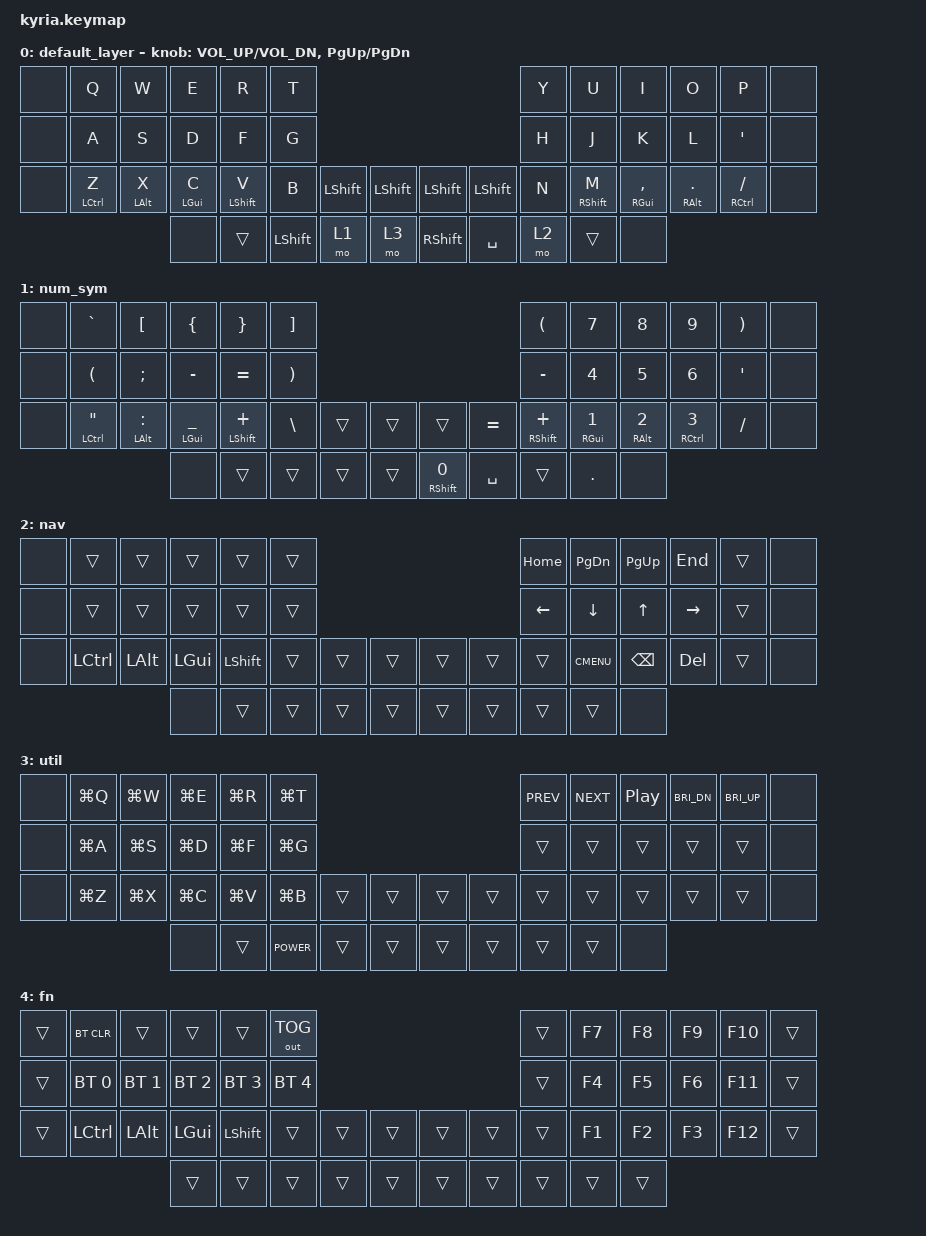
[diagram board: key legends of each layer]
/*
 * Copyright (c) 2020 The ZMK Contributors
 *
 * SPDX-License-Identifier: MIT
 */

#include <behaviors.dtsi>
#include <dt-bindings/zmk/keys.h>
#include <dt-bindings/zmk/bt.h>

/ {
    chosen {
        zmk,matrix_transform = &five_column_transform;
    };

    behaviors {
        hrml: homerowmods_left {
            compatible = "zmk,behavior-hold-tap";
            label = "HOMEROW_MODS_LEFT";
            #binding-cells = <2>;
            tapping-term-ms = <200>;
            quick-tap-ms = <125>;
            global-quick-tap;
            flavor = "tap-preferred";
            bindings = <&kp>, <&kp>;
            // hold-trigger-key-positions = <1 2  4  6 7 8 9 10 11  13 14 15 16 19 20 21 22 23 24  26 27 28 29  31 32 33 34 35 36 40 41 42>;
            // hold-trigger-key-positions = <6 7 8 9 10 11 19 20 21 22 23 24 31 32 33 34 35 36 40 41 42>;
        };
        hrmr: homerowmods_right {
            compatible = "zmk,behavior-hold-tap";
            label = "HOMEROW_MODS_RIGHT";
            #binding-cells = <2>;
            tapping-term-ms = <200>;
            quick-tap-ms = <125>;
            global-quick-tap;
            flavor = "tap-preferred";
            bindings = <&kp>, <&kp>;
            // hold-trigger-key-positions = <0 1 2 3 4 5 12 13 14 15 16 17 25 26 27 28 29 30  32 33 34 35  37 38 39>;
            // hold-trigger-key-positions = <0 1 2 3 4 5 12 13 14 15 16 17 25 26 27 28 29 30 37 38 39>;
        };
    };

    combos {
        compatible = "zmk,combos";

        enter_kl {
            bindings = <&kp ENTER>;
            key-positions = <20 21>;
        };

        backspace_jl {
            bindings = <&kp BACKSPACE>;
            key-positions = <19 21>;
        };

        backspace_jk {
            bindings = <&kp BACKSPACE>;
            key-positions = <19 20>;
        };

        tab_df {
            bindings = <&kp TAB>;
            key-positions = <15 16>;
        };

        escape_uio {
            bindings = <&kp ESCAPE>;
            key-positions = <7 8 9>;
        };

        enter_sd {
            bindings = <&kp ENTER>;
            key-positions = <14 15>;
        };

        space_fg {
            bindings = <&kp SPACE>;
            key-positions = <16 17>;
        };

        escape_wer {
            bindings = <&kp ESCAPE>;
            key-positions = <2 3 4>;
        };

        backspace_sf {
            bindings = <&kp BACKSPACE>;
            key-positions = <14 16>;
        };

        delete_xf {
            bindings = <&kp DELETE>;
            key-positions = <26 16>;
        };
    };

    conditional_layers {
        compatible = "zmk,conditional-layers";
        tri_layer {
            if-layers = <1 3>;
            then-layer = <4>;
        };
    };

    keymap {
        compatible = "zmk,keymap";

        default_layer {
            bindings = <
  &none   &kp Q   &kp W   &kp E   &kp R       &kp T                                                &kp Y   &kp U      &kp I    &kp O             &kp P   &none
  &none   &kp A   &kp S   &kp D   &kp F       &kp G                                                &kp H   &kp J      &kp K    &kp L  &kp SINGLE_QUOTE   &none
  &none   &hrml LCTRL Z   &hrml LALT X   &hrml LGUI C   &hrml LSHFT V       &kp B  &kp LSHFT  &kp LSHFT   &kp LSHFT  &kp LSHFT   &kp N   &hrmr RSHFT M  &hrmr RGUI COMMA  &hrmr RALT DOT          &hrmr RCTRL FSLH   &none
                          &none  &trans  &kp LSHIFT      &mo 1      &mo 3  &kp RSHIFT  &kp SPACE   &mo 2  &trans      &none
            >;

            sensor-bindings = <&inc_dec_kp C_VOL_UP C_VOL_DN &inc_dec_kp PG_UP PG_DN>;
        };

        num_sym {
            bindings = <
  &none  &kp GRAVE       &kp LBKT   &kp LBRC   &kp RBRC  &kp RBKT                                            &kp LPAR   &kp N7  &kp N8  &kp N9  &kp RPAR   &none
  &none   &kp LPAR  &kp SEMICOLON  &kp MINUS  &kp EQUAL  &kp RPAR                                           &kp MINUS   &kp N4  &kp N5  &kp N6   &kp SQT   &none
  &none    &hrml LCTRL DQT      &hrml LALT COLON  &hrml LGUI UNDER   &hrml LSHFT PLUS  &kp BSLH  &trans  &trans        &trans  &kp EQUAL   &hrmr RSHFT PLUS   &hrmr RGUI N1  &hrmr RALT N2  &hrmr RCTRL N3  &kp FSLH   &none
                                       &none     &trans    &trans  &trans  &trans  &mt RSHFT N0  &kp SPACE     &trans  &kp DOT   &none
            >;
        };

        nav {
            bindings = <
  &none  &trans  &trans  &trans  &trans  &trans                                  &kp HOME    &kp PG_DN      &kp PG_UP     &kp END  &trans   &none
  &none  &trans  &trans  &trans  &trans  &trans                                  &kp LEFT     &kp DOWN         &kp UP   &kp RIGHT  &trans   &none
  &none  &kp LCTRL  &kp LALT  &kp LGUI  &kp LSHFT  &trans  &trans  &trans  &trans  &trans    &trans  &kp K_CMENU  &kp BACKSPACE  &kp DELETE  &trans   &none
                          &none  &trans  &trans  &trans  &trans  &trans  &trans    &trans       &trans          &none
            >;
        };

        util {
            bindings = <
  &none  &kp LG(Q)  &kp LG(W)  &kp LG(E)  &kp LG(R)    &kp LG(T)                                  &kp C_PREV  &kp C_NEXT  &kp C_PLAY_PAUSE  &kp C_BRI_DN  &kp C_BRI_UP   &none
  &none  &kp LG(A)  &kp LG(S)  &kp LG(D)  &kp LG(F)    &kp LG(G)                                      &trans      &trans            &trans        &trans        &trans   &none
  &none  &kp LG(Z)  &kp LG(X)  &kp LG(C)  &kp LG(V)    &kp LG(B)  &trans  &trans  &trans  &trans      &trans      &trans            &trans        &trans        &trans   &none
                                   &none     &trans  &kp C_POWER  &trans  &trans  &trans  &trans      &trans      &trans             &none
            >;
        };

        fn {
            bindings = <
 &trans    &bt BT_CLR        &trans        &trans        &trans        &out OUT_TOG                                  &trans  &kp F7  &kp F8  &kp F9  &kp F10  &trans
 &trans  &bt BT_SEL 0  &bt BT_SEL 1  &bt BT_SEL 2  &bt BT_SEL 3  &bt BT_SEL 4                                  &trans  &kp F4  &kp F5  &kp F6  &kp F11  &trans
 &trans        &kp LCTRL  &kp LALT  &kp LGUI  &kp LSHFT        &trans  &trans  &trans  &trans  &trans  &trans  &kp F1  &kp F2  &kp F3  &kp F12  &trans
                                           &trans        &trans        &trans  &trans  &trans  &trans  &trans  &trans  &trans  &trans
            >;
        };
    };
};
